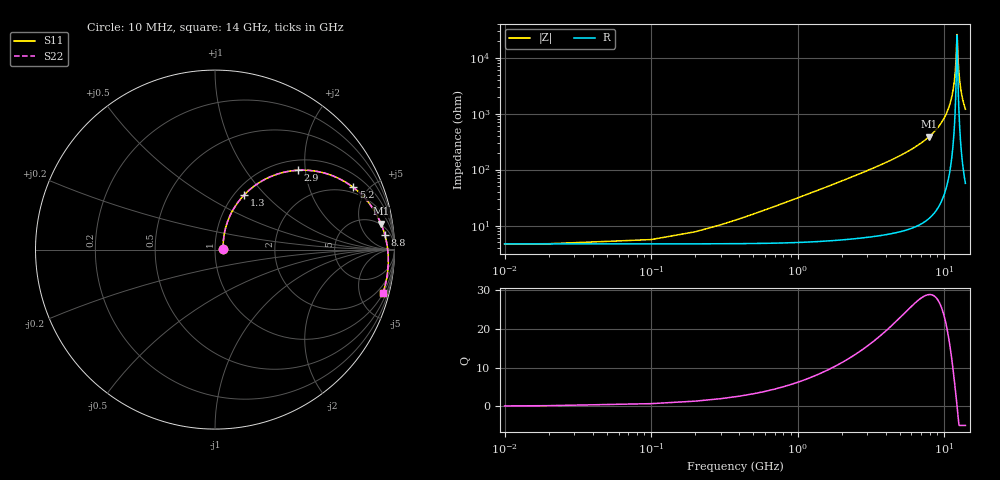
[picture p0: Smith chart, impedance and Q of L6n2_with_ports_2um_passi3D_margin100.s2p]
#  GHZ S DB R 50.0
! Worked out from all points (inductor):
!   142 points, 10 MHz to 14 GHz, reference 50 ohm
!   read as one part in series: L = 4.86 nH near 500 MHz
!   highest Q = 28.9 at 7.9 GHz (marker M1), where L = 7.77 nH
!   self-resonance near 12.2 GHz
!   S11 on the Smith chart (normalised r, x): 10 MHz: 1.09, +0.01; 1.3 GHz: 1.11, +0.77; 2.9 GHz: 1.22, +1.82; 5.2 GHz: 1.66, +4.01; 8.8 GHz: 11, +17; 14 GHz: 1.05, -7.67
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0.01  -26.97 3.3  -0.40 -0.2  -0.40 -0.2  -26.97 3.3
0.4  -18.68 62.1  -0.49 -7.1  -0.49 -7.1  -18.68 62.1
0.6  -15.47 65.8  -0.58 -10.6  -0.58 -10.6  -15.47 65.8
1.3  -9.25 61.9  -1.08 -21.8  -1.08 -21.8  -9.26 61.9
2.4  -4.98 49.2  -2.33 -37.1  -2.33 -37.1  -4.98 49.2
2.9  -3.89 43.8  -3.02 -43.0  -3.02 -43.0  -3.89 43.8
4.7  -1.78 27.8  -5.88 -59.9  -5.88 -59.9  -1.78 27.8
5.2  -1.47 24.2  -6.75 -63.6  -6.75 -63.6  -1.47 24.2
7.1  -0.74 12.9  -10.41 -75.2  -10.41 -75.2  -0.74 12.9
7.9  -0.57 8.9  -12.21 -79.2  -12.21 -79.2  -0.57 8.9
8.8  -0.44 4.8  -14.55 -83.2  -14.55 -83.2  -0.44 4.8
9.4  -0.38 2.3  -16.40 -85.6  -16.40 -85.6  -0.38 2.3
10.8  -0.29 -3.3  -22.59 -89.9  -22.59 -89.9  -0.29 -3.3
11.3  -0.27 -5.2  -26.28 -90.4  -26.28 -90.4  -0.28 -5.2
11.7  -0.27 -6.6  -30.88 -88.9  -30.88 -88.9  -0.27 -6.6
12  -0.26 -7.7  -37.01 -82.5  -37.01 -82.5  -0.27 -7.7
12.2  -0.26 -8.4  -45.42 -55.8  -45.42 -55.8  -0.27 -8.4
12.3  -0.26 -8.8  -48.64 4.7  -48.64 4.7  -0.27 -8.8
12.5  -0.26 -9.5  -39.19 61.7  -39.19 61.7  -0.27 -9.5
12.8  -0.27 -10.5  -32.13 71.4  -32.13 71.4  -0.27 -10.5
13.3  -0.28 -12.2  -26.42 73.7  -26.42 73.7  -0.28 -12.2
14  -0.30 -14.6  -22.02 72.9  -22.02 72.9  -0.30 -14.6
